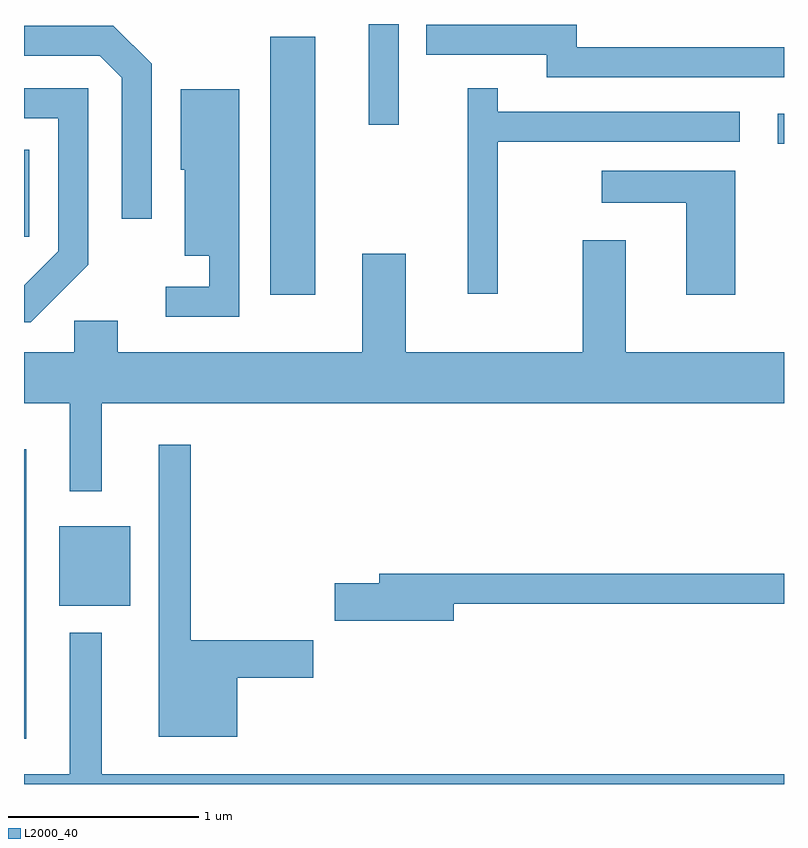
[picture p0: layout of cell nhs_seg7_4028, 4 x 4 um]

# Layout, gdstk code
import gdstk
lib = gdstk.Library(unit=1e-6, precision=1e-09)
def R(c, l, rs):  # rectangles x0, y0, x1, y1
    for r in rs: c.add(gdstk.rectangle(r[:2], r[2:], *l))
def P(c, l, *ps):  # polygons
    for p in ps: c.add(gdstk.Polygon(p, *l))
L2000_40 = (2000, 40)

nhs_seg7_4028 = lib.new_cell('nhs_seg7_4028')
R(nhs_seg7_4028, L2000_40, [(307.611,1772.491,307.624,1774.014), (307.796,1773.191,308.169,1773.609), (308.906,1774.826,309.144,1776.184), (307.611,1775.131,307.639,1775.589), (311.578,1775.621,311.611,1775.779), (309.426,1775.723,309.584,1776.252)])
P(nhs_seg7_4028, L2000_40, [(311.611,1776.129),(310.519,1776.129),(310.519,1776.249),(309.728,1776.249),(309.728,1776.091),(310.361,1776.091),(310.361,1775.971),(311.611,1775.971)],
  [(308.284,1776.042),(308.082,1776.244),(307.611,1776.244),(307.611,1776.086),(308.009,1776.086),(308.126,1775.969),(308.126,1775.228),(308.284,1775.228)],
  [(307.949,1774.984),(307.949,1775.914),(307.611,1775.914),(307.611,1775.756),(307.791,1775.756),(307.791,1775.057),(307.611,1774.876),(307.611,1774.681),(307.647,1774.681)],
  [(310.104,1775.631),(311.378,1775.631),(311.378,1775.789),(310.104,1775.789),(310.104,1775.913),(309.946,1775.913),(309.946,1774.833),(310.104,1774.833)],
  [(308.744,1775.909),(308.436,1775.909),(308.436,1775.486),(308.456,1775.486),(308.456,1775.031),(308.586,1775.031),(308.586,1774.869),(308.358,1774.869),(308.358,1774.711),(308.744,1774.711)],
  [(311.354,1775.479),(310.653,1775.479),(310.653,1775.311),(311.096,1775.311),(311.096,1774.826),(311.354,1774.826)],
  [(308.019,1774.256),(311.611,1774.256),(311.611,1774.524),(310.779,1774.524),(310.779,1775.114),(310.551,1775.114),(310.551,1774.524),(309.619,1774.524),(309.619,1775.044),(309.391,1775.044),(309.391,1774.524),(308.104,1774.524),(308.104,1774.689),(307.876,1774.689),(307.876,1774.524),(307.611,1774.524),(307.611,1774.256),(307.851,1774.256),(307.851,1773.793),(308.019,1773.793)],
  [(308.734,1772.811),(309.134,1772.811),(309.134,1773.009),(308.489,1773.009),(308.489,1774.038),(308.321,1774.038),(308.321,1772.501),(308.734,1772.501)],
  [(309.874,1773.201),(311.611,1773.201),(311.611,1773.359),(309.481,1773.359),(309.481,1773.309),(309.246,1773.309),(309.246,1773.111),(309.874,1773.111)],
  [(311.611,1772.304),(308.019,1772.304),(308.019,1773.048),(307.851,1773.048),(307.851,1772.304),(307.611,1772.304),(307.611,1772.252),(311.611,1772.252)])

lib.write_gds('nhs_seg7_4028.gds')
